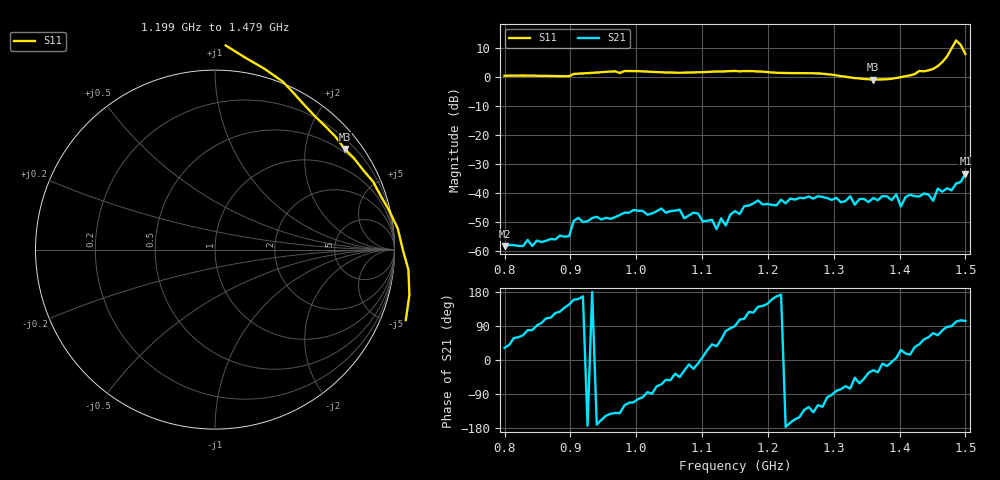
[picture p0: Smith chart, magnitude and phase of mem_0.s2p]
! NanoVNA-App
! Date: 2026-06-02 21:23:38
! Start: 800MHz Stop: 1.5GHz Points: 101
! S-Parameter data: F S11 S21 S12 S22
# Hz S RI R 50
!  Frequency  S11_Real  S11_Imag  S21_Real  S21_Imag  S12_Real  S12_Imag  S22_Real  S22_Imag
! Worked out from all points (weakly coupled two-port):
!   101 points, 800 MHz to 1.5 GHz, reference 50 ohm
!   highest |S21| = -33.22 dB at 1.5 GHz (marker M1); lowest = -58.3 dB at 800 MHz (marker M2)
!   lowest |S11| = -0.8 dB at 1.36 GHz (marker M3), VSWR 22.37, Z = 20.9 + j143 ohm
!   |S11| at or under -10 dB: nowhere
!   S12 and S22 are empty: the file has one direction only
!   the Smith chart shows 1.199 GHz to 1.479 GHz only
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8e8  -1.02 0.3066  0.00103 0.000654  0 0  0 0
8.49e8  -0.8425 -0.6553  -2.84e-05 0.00152  0 0  0 0
9.19e8  0.4654 -1.071  -0.00311 0.000672  0 0  0 0
9.47e8  0.992 -0.7222  -0.00327 -0.00133  0 0  0 0
9.82e8  1.282 0.1179  -0.00229 -0.00401  0 0  0 0
1.038e9  0.4005 1.155  0.00235 -0.00493  0 0  0 0
1.094e9  -0.7867 0.9372  0.0044 -0.000689  0 0  0 0
1.122e9  -1.189 0.4105  0.00193 0.00142  0 0  0 0
1.15e9  -1.244 -0.3403  3.7e-05 0.00492  0 0  0 0
1.199e9  -0.4142 -1.161  -0.00554 0.00348  0 0  0 0
1.234e9  0.2748 -1.153  -0.00786 -0.00203  0 0  0 0
1.269e9  0.8716 -0.7874  -0.00601 -0.00538  0 0  0 0
1.304e9  1.077 -0.112  0.00127 -0.00823  0 0  0 0
1.36e9  0.722 0.5611  0.00738 -0.00375  0 0  0 0
1.388e9  0.4989 0.8045  0.00757 -0.000668  0 0  0 0
1.451e9  -0.52 1.297  0.00243 0.00702  0 0  0 0
1.458e9  -0.7144 1.389  0.00501 0.0109  0 0  0 0
1.472e9  -1.493 1.728  0.000582 0.0122  0 0  0 0
1.479e9  -2.636 1.746  0.000139 0.0112  0 0  0 0
1.486e9  -4.329 -0.0597  -0.00287 0.0145  0 0  0 0
1.493e9  -2.809 -2.278  -0.00395 0.0151  0 0  0 0
1.5e9  -1.325 -2.14  -0.00497 0.0212  0 0  0 0
